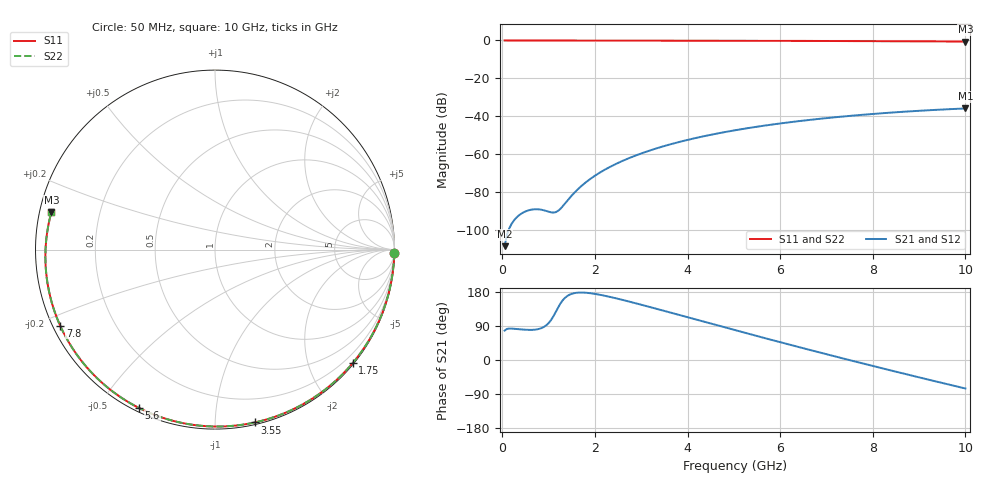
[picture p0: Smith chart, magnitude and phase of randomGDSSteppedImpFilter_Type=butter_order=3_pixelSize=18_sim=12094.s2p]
! freq	dB(S11)	phase(S11)	dB(S12)	phase(S12)
!  dB(S21)	phase(S21)	dB(S22)	phase(S22)
!S-par simulation data
#  GHz  S  DB  R 50
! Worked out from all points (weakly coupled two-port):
!   200 points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, 50 MHz to 10 GHz, reference 50 ohm
!   highest |S21| = -35.86 dB at 10 GHz (marker M1); lowest = -108.4 dB at 50 MHz (marker M2)
!   lowest |S11| = -0.6 dB at 10 GHz (marker M3), VSWR 29.83, Z = 1.7 + j5.64 ohm
!   |S11| at or under -10 dB: nowhere
!   |S22| runs from -0.6 to 0.0 dB; largest |S21 - S12| = 0
!   S11 on the Smith chart (normalised r, x): 50 MHz: open; 1.75 GHz: 0.03, -2.79; 3.55 GHz: 0.02, -1.26; 5.6 GHz: 0.02, -0.63; 7.8 GHz: 0.02, -0.23; 10 GHz: 0.03, +0.11
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0.05  -0.00 -1.1  -108.44 77.5  -108.44 77.5  -0.00 -1.1
0.45  -0.02 -10.3  -90.71 80.3  -90.71 80.3  -0.02 -10.3
0.8  -0.02 -18.3  -89.07 82.3  -89.07 82.3  -0.02 -18.3
1.55  -0.04 -35.0  -80.42 176.3  -80.42 176.3  -0.04 -35.0
1.6  -0.05 -36.1  -79.18 177.3  -79.18 177.3  -0.05 -36.1
1.75  -0.05 -39.4  -75.85 177.9  -75.85 177.9  -0.05 -39.4
2.05  -0.06 -45.9  -70.52 173.4  -70.52 173.4  -0.06 -45.9
2.25  -0.06 -50.2  -67.64 168.6  -67.64 168.6  -0.06 -50.2
2.45  -0.07 -54.5  -65.13 163.0  -65.13 163.0  -0.07 -54.5
2.9  -0.08 -63.9  -60.46 149.1  -60.46 149.1  -0.08 -63.9
3.4  -0.10 -74.1  -56.36 132.8  -56.36 132.8  -0.10 -74.0
3.55  -0.10 -77.0  -55.29 127.8  -55.29 127.8  -0.10 -77.0
4.3  -0.13 -91.6  -50.76 102.8  -50.76 102.8  -0.13 -91.6
5.05  -0.16 -105.6  -47.23 78.0  -47.23 78.0  -0.16 -105.6
5.6  -0.19 -115.6  -45.11 60.0  -45.11 60.0  -0.19 -115.6
6.15  -0.22 -125.3  -43.28 42.2  -43.28 42.2  -0.22 -125.3
6.7  -0.26 -134.9  -41.70 24.7  -41.70 24.7  -0.26 -134.9
7.25  -0.30 -144.4  -40.33 7.4  -40.33 7.4  -0.30 -144.4
7.8  -0.34 -153.8  -39.14 -9.6  -39.14 -9.6  -0.34 -153.8
8.35  -0.40 -163.3  -38.10 -26.3  -38.10 -26.3  -0.40 -163.3
9.2  -0.49 -178.3  -36.79 -51.8  -36.79 -51.8  -0.49 -178.3
10  -0.58 167.1  -35.86 -75.2  -35.86 -75.2  -0.58 167.1
